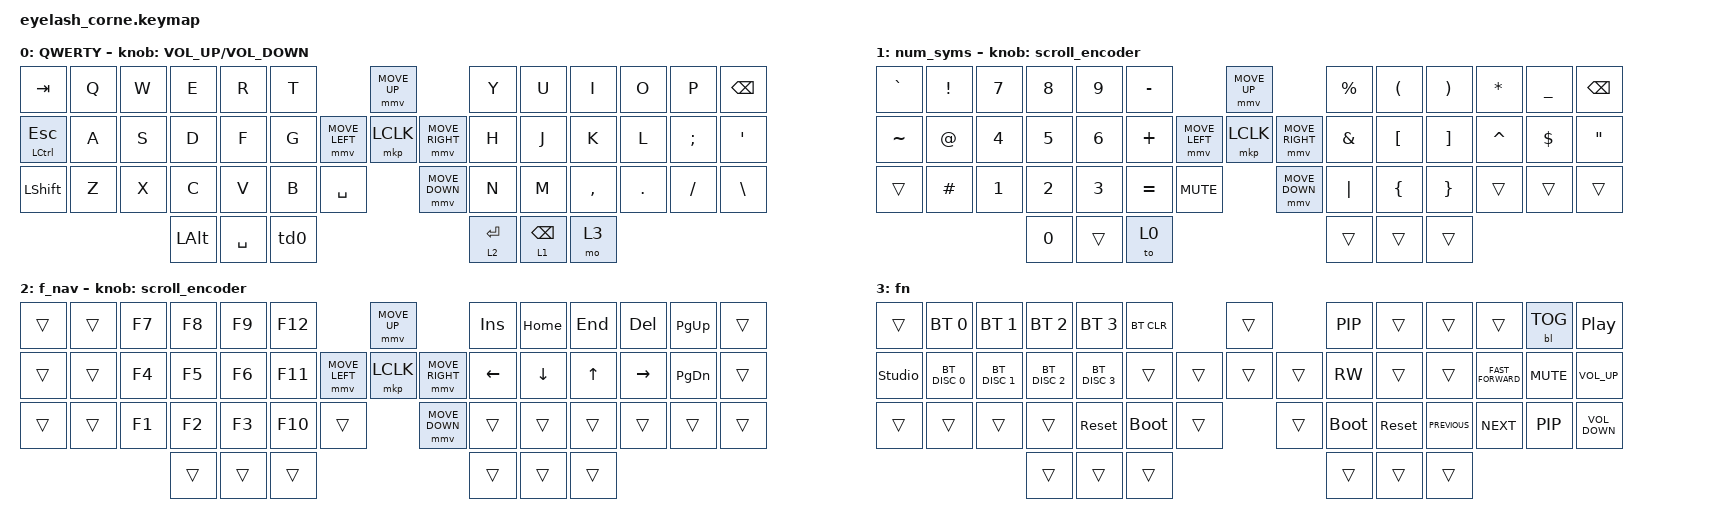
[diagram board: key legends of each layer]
#define ZMK_POINTING_DEFAULT_MOVE_VAL 1200  // 600
#define ZMK_POINTING_DEFAULT_SCRL_VAL 25   // 10

#include <input/processors.dtsi>
#include <zephyr/dt-bindings/input/input-event-codes.h>
#include <behaviors.dtsi>
#include <dt-bindings/zmk/backlight.h>
#include <dt-bindings/zmk/bt.h>
#include <dt-bindings/zmk/keys.h>
#include <dt-bindings/zmk/pointing.h>
#include <dt-bindings/zmk/rgb.h>

&mmv_input_listener { input-processors = <&zip_xy_scaler 2 1>; };

&msc_input_listener { input-processors = <&zip_scroll_scaler 2 1>; };

&msc {
    acceleration-exponent = <1>;      // 0
    time-to-max-speed-ms = <100>;       // 300
    delay-ms = <0>;                   // 0
};

&mmv {
    time-to-max-speed-ms = <500>;
    acceleration-exponent = <1>;
    trigger-period-ms = <16>;
};

&soft_off { hold-time-ms = <2000>; };

&mt {
};

&lt { flavor = "hold-preferred"; };

/ {
    behaviors {
        td0: td0 {
            compatible = "zmk,behavior-tap-dance";
            display-name = "Shift/Caps Lock Tap Dance";
            #binding-cells = <0>;
            bindings = <&kp LWIN>, <&to 1>;
        };
    };

    rgb_encoder: rgb_encoder {
        compatible = "zmk,behavior-sensor-rotate";
        #sensor-binding-cells = <0>;
        bindings = <&rgb_ug RGB_BRI>, <&rgb_ug RGB_BRD>;
    };

    scroll_encoder: scroll_encoder {
        compatible = "zmk,behavior-sensor-rotate";
        #sensor-binding-cells = <0>;
        bindings = <&msc SCRL_DOWN>, <&msc SCRL_UP>;

        tap-ms = <100>;
    };

    combos {
        compatible = "zmk,combos";

        softoff {
            bindings = <&soft_off>;
            key-positions = <1 15 29>;
        };

        bootloader {
            bindings = <&bootloader>;
            key-positions = <0 28 43>;
            layers = <3>;
        };

        bt_clearall {
            bindings = <&bt BT_CLR_ALL>;
            key-positions = <0 18>;
            layers = <3>;
        };
    };

    keymap {
        compatible = "zmk,keymap";

        default_layer {
            display-name = "QWERTY";
            bindings = <
&kp TAB           &kp Q  &kp W  &kp E         &kp R      &kp T                               &mmv MOVE_UP                     &kp Y        &kp U            &kp I      &kp O    &kp P     &kp BSPC
&mt LCTRL ESCAPE  &kp A  &kp S  &kp D         &kp F      &kp G               &mmv MOVE_LEFT  &mkp LCLK       &mmv MOVE_RIGHT  &kp H        &kp J            &kp K      &kp L    &kp SEMI  &kp SQT
&kp LSHFT         &kp Z  &kp X  &kp C         &kp V      &kp B  &kp SPACE                    &mmv MOVE_DOWN                   &kp N        &kp M            &kp COMMA  &kp DOT  &kp FSLH  &kp BACKSLASH
                                &kp LEFT_ALT  &kp SPACE  &td0                                                                 &lt 2 ENTER  &lt 1 BACKSPACE  &mo 3
            >;

            sensor-bindings = <&inc_dec_kp C_VOLUME_UP C_VOLUME_DOWN>;
        };

        layer_1 {
            display-name = "num_syms";
            bindings = <
&kp GRAVE  &kp EXCLAMATION  &kp NUMBER_7  &kp NUMBER_8  &kp NUMBER_9  &kp MINUS                                &mmv MOVE_UP                     &kp PERCENT    &kp LEFT_PARENTHESIS  &kp RIGHT_PARENTHESIS  &kp ASTERISK  &kp UNDERSCORE  &kp BSPC
&kp TILDE  &kp AT_SIGN      &kp NUMBER_4  &kp NUMBER_5  &kp NUMBER_6  &kp PLUS                 &mmv MOVE_LEFT  &mkp LCLK       &mmv MOVE_RIGHT  &kp AMPERSAND  &kp LEFT_BRACKET      &kp RIGHT_BRACKET      &kp CARET     &kp DOLLAR      &kp DOUBLE_QUOTES
&trans     &kp HASH         &kp NUMBER_1  &kp NUMBER_2  &kp NUMBER_3  &kp EQUAL  &kp C_MUTE                    &mmv MOVE_DOWN                   &kp PIPE       &kp LEFT_BRACE        &kp RIGHT_BRACE        &trans        &trans          &trans
                                          &kp NUMBER_0  &trans        &to 0                                                                     &trans         &trans                &trans
            >;

            sensor-bindings = <&scroll_encoder>;
        };

        layer_2 {
            display-name = "f_nav";
            bindings = <
&trans  &trans  &kp F7  &kp F8  &kp F9  &kp F12                            &mmv MOVE_UP                     &kp INSERT      &kp HOME        &kp END       &kp DEL    &kp PG_UP  &trans
&trans  &trans  &kp F4  &kp F5  &kp F6  &kp F11            &mmv MOVE_LEFT  &mkp LCLK       &mmv MOVE_RIGHT  &kp LEFT_ARROW  &kp DOWN_ARROW  &kp UP_ARROW  &kp RIGHT  &kp PG_DN  &trans
&trans  &trans  &kp F1  &kp F2  &kp F3  &kp F10  &trans                    &mmv MOVE_DOWN                   &trans          &trans          &trans        &trans     &trans     &trans
                        &trans  &trans  &trans                                                              &trans          &trans          &trans
            >;

            sensor-bindings = <&scroll_encoder>;
        };

        layer_3 {
            bindings = <
&trans          &bt BT_SEL 0   &bt BT_SEL 1   &bt BT_SEL 2   &bt BT_SEL 3   &bt BT_CLR                     &trans          &kp C_PIP    &trans      &trans          &trans              &bl BL_TOG  &kp C_PP
&studio_unlock  &bt BT_DISC 0  &bt BT_DISC 1  &bt BT_DISC 2  &bt BT_DISC 3  &trans                 &trans  &trans  &trans  &kp C_RW     &trans      &trans          &kp C_FAST_FORWARD  &kp C_MUTE  &kp C_VOLUME_UP
&trans          &trans         &trans         &trans         &sys_reset     &bootloader  &trans            &trans          &bootloader  &sys_reset  &kp C_PREVIOUS  &kp C_NEXT          &kp C_PIP   &kp C_VOLUME_DOWN
                                              &trans         &trans         &trans                                         &trans       &trans      &trans
            >;

            label = "fn";
        };
    };
};
